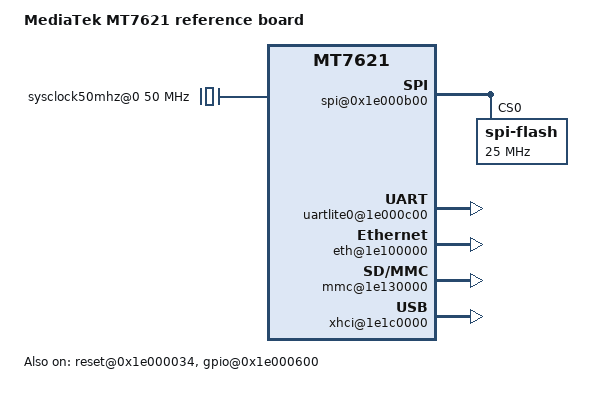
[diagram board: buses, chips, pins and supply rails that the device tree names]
/dts-v1/;

/ {
	#address-cells = <0x01>;
	#size-cells = <0x01>;
	compatible = "mediatek,mt7621-rfb\0mediatek,mt7621-soc";
	model = "MediaTek MT7621 reference board";

	chosen {
		stdout-path = "/palmbus/uartlite0@1e000c00";
	};

	aliases {
		spi0 = "/palmbus/spi@0x1e000b00";
	};

	memory {
		device_type = "memory";
		reg = <0x00 0x00>;
	};

	cpus {
		#address-cells = <0x01>;
		#size-cells = <0x00>;

		cpu@0 {
			device_type = "cpu";
			compatible = "mips,mips1004Kc";
			reg = <0x00>;
		};

		cpu@1 {
			device_type = "cpu";
			compatible = "mips,mips1004Kc";
			reg = <0x00>;
		};
	};

	sysclock50mhz@0 {
		compatible = "fixed-clock";
		clock-frequency = <0x2faf080>;
		#clock-cells = <0x00>;
		phandle = <0x03>;
	};

	palmbus {
		compatible = "simple-bus";
		ranges;
		#address-cells = <0x01>;
		#size-cells = <0x01>;

		reset@0x1e000034 {
			compatible = "mediatek,mt7621-reset";
			reg = <0x1e000034 0x04>;
			status = "okay";
			#reset-cells = <0x01>;
			phandle = <0x02>;
		};

		pinctrl@1e000048 {
			compatible = "mediatek,mt7621-pinctrl";
			reg = <0x1e000048 0x30>;
			pinctrl-names = "default";
			pinctrl-0 = <0x01>;

			pinmux_conf {
				phandle = <0x01>;

				uart1 {
					groups = "uart1";
					function = "uart1";
				};

				gpio {
					groups = "i2c\0uart2\0uart3\0pcie";
					function = "gpio";
				};

				jtag {
					groups = "jtag";
					function = "jtag";
				};

				wdt {
					groups = "wdt";
					function = "wdt rst";
				};

				mdio {
					groups = "mdio";
					function = "mdio";
				};

				mdio_pconf {
					groups = "mdio";
					drive-strength = <0x02>;
				};

				rgmii2 {
					groups = "rgmii2";
					function = "rgmii2";
				};

				rgmii1 {
					groups = "rgmii1";
					function = "rgmii1";
				};

				esw {
					groups = "esw";
					function = "esw int";
				};

				spi {
					groups = "spi";
					function = "spi";
				};

				sdhci {
					groups = "sdhci";
					function = "sdhci";
				};
			};
		};

		gpio@0x1e000600 {
			compatible = "mediatek,mt7621-gpio";
			reg = <0x1e000600 0x100>;
			bank-name = "mt7621-gpio";
			resets = <0x02 0x0d>;
			status = "okay";
			gpio-controller;
			#gpio-cells = <0x02>;
			phandle = <0x04>;
		};

		spi@0x1e000b00 {
			compatible = "mediatek,mt7621-spi";
			reg = <0x1e000b00 0x100>;
			resets = <0x02 0x12>;
			status = "okay";
			#address-cells = <0x01>;
			#size-cells = <0x00>;
			spi-max-frequency = <0x17d7840>;

			spi-flash@0 {
				#address-cells = <0x01>;
				#size-cells = <0x01>;
				compatible = "spi-flash";
				spi-max-frequency = <0x17d7840>;
				reg = <0x00>;
			};
		};

		uartlite0@1e000c00 {
			compatible = "mediatek,hsuart\0ns16550";
			reg = <0x1e000c00 0x100>;
			reg-shift = <0x02>;
			clock-frequency = <0x2faf080>;
			resets = <0x02 0x13>;
			status = "okay";
		};

		uartlite0@1e000d00 {
			compatible = "mediatek,hsuart\0ns16550";
			reg = <0x1e000d00 0x100>;
			reg-shift = <0x02>;
			clock-frequency = <0x2faf080>;
			resets = <0x02 0x14>;
			status = "disabled";
		};

		uartlite0@1e000e00 {
			compatible = "mediatek,hsuart\0ns16550";
			reg = <0x1e000e00 0x100>;
			reg-shift = <0x02>;
			clock-frequency = <0x2faf080>;
			resets = <0x02 0x15>;
			status = "disabled";
		};

		eth@1e100000 {
			compatible = "mediatek,mt7621-eth";
			reg = <0x1e100000 0xe000 0x1e110000 0x8000>;
			reg-names = "fe\0gmac";
			resets = <0x02 0x06 0x02 0x17 0x02 0x02>;
			reset-names = "fe\0gsw\0mcm";
			status = "okay";
			#address-cells = <0x01>;
			#size-cells = <0x00>;
		};

		mmc@1e130000 {
			compatible = "mediatek,mt7621-mmc";
			reg = <0x1e130000 0x4000>;
			r_smpl = <0x01>;
			clocks = <0x03>;
			clock-names = "source";
			resets = <0x02 0x1e>;
			status = "okay";
		};

		xhci@1e1c0000 {
			compatible = "mediatek,mt7621-xhci";
			reg = <0x1e1c0000 0x40000>;
			status = "okay";
			#address-cells = <0x01>;
			#size-cells = <0x00>;
		};

		i2c@0 {
			compatible = "i2c-gpio";
			i2c-gpio,delay-us = <0x03>;
			status = "disabled";
			#address-cells = <0x01>;
			#size-cells = <0x00>;
			gpios = <0x04 0x03 0x01 0x04 0x04 0x01>;
		};
	};

	binman {
		filename = "u-boot-mt7621.bin";
		pad-byte = <0xff>;

		blob {
			filename = "u-boot-mt7621-spl.bin";
			align-end = <0x10000>;
		};

		u-boot-lzma-img {
		};
	};
};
